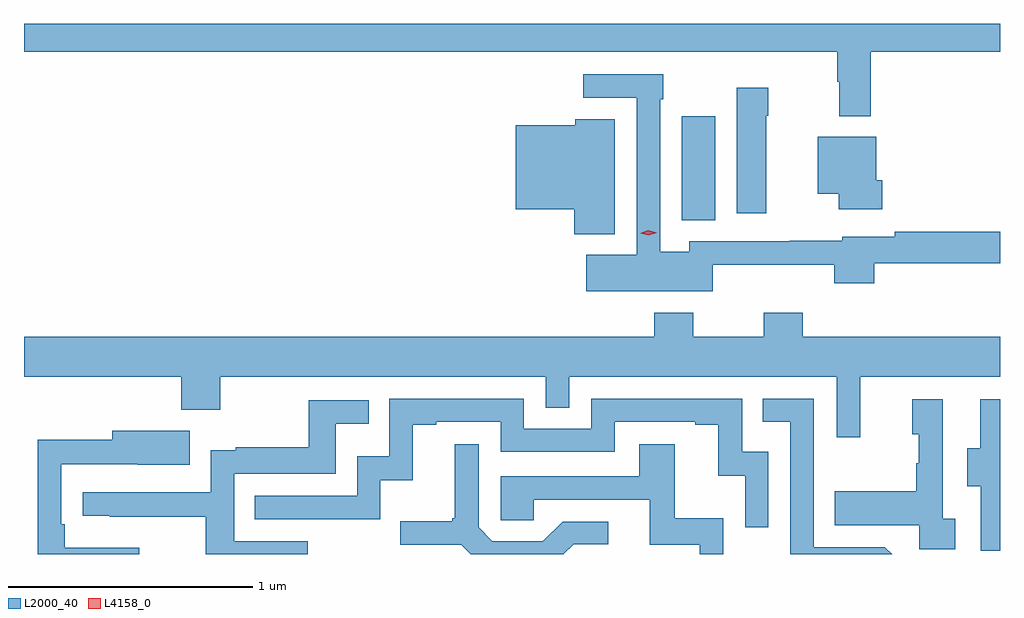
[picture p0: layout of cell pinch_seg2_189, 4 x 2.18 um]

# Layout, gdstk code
import gdstk
lib = gdstk.Library(unit=1e-6, precision=1e-09)
def R(c, l, rs):  # rectangles x0, y0, x1, y1
    for r in rs: c.add(gdstk.rectangle(r[:2], r[2:], *l))
def P(c, l, *ps):  # polygons
    for p in ps: c.add(gdstk.Polygon(p, *l))
L2000_40 = (2000, 40)
L4158_0 = (4158, 0)

pinch_seg2_189 = lib.new_cell('pinch_seg2_189')
R(pinch_seg2_189, L2000_40, [(990.755,665.593,990.892,666.019)])
P(pinch_seg2_189, L2000_40, [(988.059,666.284),(991.393,666.284),(991.393,666.161),(991.401,666.161),(991.401,666.021),(991.529,666.021),(991.529,666.284),(992.059,666.284),(992.059,666.4),(988.059,666.4)],
  [(990.882,665.411),(991.379,665.411),(991.379,665.336),(991.544,665.336),(991.544,665.418),(992.059,665.418),(992.059,665.546),(991.627,665.546),(991.627,665.526),(991.413,665.526),(991.413,665.51),(991.198,665.51),(991.198,665.508),(990.786,665.508),(990.786,665.464),(990.666,665.464),(990.666,666.089),(990.679,666.089),(990.679,666.192),(990.351,666.192),(990.351,666.096),(990.57,666.096),(990.57,665.452),(990.363,665.452),(990.363,665.303),(990.882,665.303)],
  [(991.102,666.023),(991.11,666.023),(991.11,666.136),(990.98,666.136),(990.98,665.622),(991.102,665.622)],
  [(990.481,666.007),(990.318,666.007),(990.318,665.983),(990.074,665.983),(990.074,665.639),(990.314,665.639),(990.314,665.537),(990.481,665.537)],
  [(991.577,665.757),(991.552,665.757),(991.552,665.935),(991.313,665.935),(991.313,665.702),(991.399,665.702),(991.399,665.639),(991.577,665.639)],
  [(991.487,664.952),(992.059,664.952),(992.059,665.116),(991.25,665.116),(991.25,665.215),(991.09,665.215),(991.09,665.116),(990.801,665.116),(990.801,665.215),(990.641,665.215),(990.641,665.116),(988.059,665.116),(988.059,664.952),(988.703,664.952),(988.703,664.817),(988.863,664.817),(988.863,664.952),(990.198,664.952),(990.198,664.825),(990.294,664.825),(990.294,664.952),(991.389,664.952),(991.389,664.704),(991.487,664.704)],
  [(991.11,664.644),(991.002,664.644),(991.002,664.863),(990.384,664.863),(990.384,664.74),(990.108,664.74),(990.108,664.863),(989.556,664.863),(989.556,664.627),(989.424,664.627),(989.424,664.464),(989.005,664.464),(989.005,664.368),(989.52,664.368),(989.52,664.529),(989.653,664.529),(989.653,664.755),(989.749,664.755),(989.749,664.767),(990.012,664.767),(990.012,664.644),(990.48,664.644),(990.48,664.767),(990.809,664.767),(990.809,664.755),(990.905,664.755),(990.905,664.547),(991.014,664.547),(991.014,664.335),(991.11,664.335)],
  [(991.587,664.254),(991.296,664.254),(991.296,664.863),(991.087,664.863),(991.087,664.767),(991.2,664.767),(991.2,664.224),(991.617,664.224)],
  [(991.876,664.37),(991.824,664.37),(991.824,664.861),(991.7,664.861),(991.7,664.716),(991.726,664.716),(991.726,664.598),(991.716,664.598),(991.716,664.483),(991.381,664.483),(991.381,664.343),(991.728,664.343),(991.728,664.245),(991.876,664.245)],
  [(992.059,664.861),(991.979,664.861),(991.979,664.659),(991.925,664.659),(991.925,664.504),(991.98,664.504),(991.98,664.24),(992.059,664.24)],
  [(989.221,664.278),(988.92,664.278),(988.92,664.554),(989.337,664.554),(989.337,664.76),(989.471,664.76),(989.471,664.857),(989.226,664.857),(989.226,664.663),(988.927,664.663),(988.927,664.651),(988.824,664.651),(988.824,664.479),(988.299,664.479),(988.299,664.383),(988.411,664.383),(988.411,664.378),(988.804,664.378),(988.804,664.224),(989.221,664.224)],
  [(988.531,664.252),(988.226,664.252),(988.226,664.348),(988.212,664.348),(988.212,664.593),(988.525,664.593),(988.525,664.592),(988.739,664.592),(988.739,664.732),(988.421,664.732),(988.421,664.694),(988.116,664.694),(988.116,664.224),(988.531,664.224)],
  [(990.312,664.266),(990.454,664.266),(990.454,664.359),(990.266,664.359),(990.185,664.278),(989.979,664.278),(989.922,664.335),(989.922,664.675),(989.825,664.675),(989.825,664.372),(989.814,664.372),(989.814,664.36),(989.601,664.36),(989.601,664.263),(989.85,664.263),(989.889,664.224),(990.27,664.224)],
  [(990.924,664.372),(990.725,664.372),(990.725,664.675),(990.581,664.675),(990.581,664.545),(990.012,664.545),(990.012,664.365),(990.149,664.365),(990.149,664.449),(990.623,664.449),(990.623,664.263),(990.828,664.263),(990.828,664.224),(990.924,664.224)])
P(pinch_seg2_189, L4158_0, [(990.619,665.532),(990.584,665.54),(990.584,665.54),(990.584,665.54),(990.618,665.552),(990.653,665.543),(990.653,665.543),(990.653,665.543)])

lib.write_gds('pinch_seg2_189.gds')
